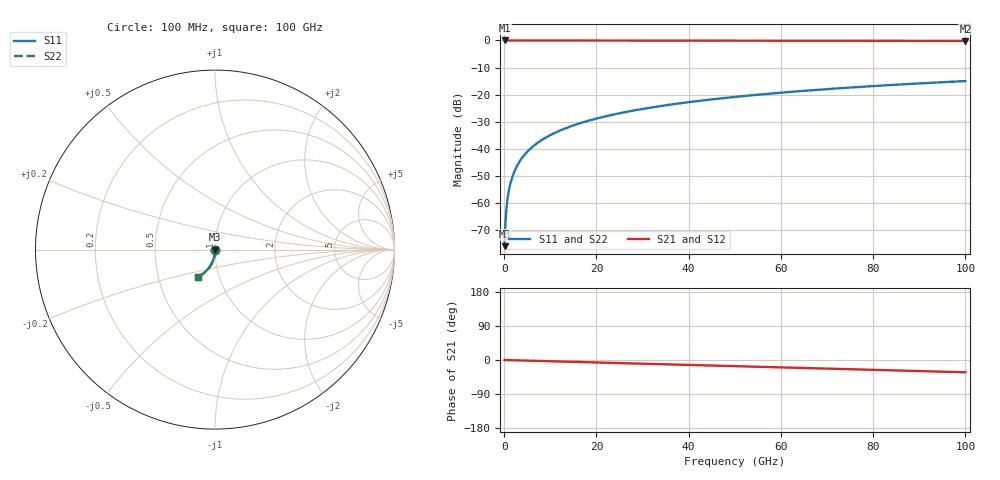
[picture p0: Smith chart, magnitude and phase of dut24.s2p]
! Touchstone file exported from HFSS 2026.1.0
!  File:  C:/ffzhzh/LocalFiles/Ansys_Project_Files/temp_train_TSV_24_1783504485_55944.aedt
!  Generated:  05:55:56 PM Jul  8, 2026
!  Design:  TSV
!  Project:  temp_train_TSV_24_1783504485_55944
! Variables:
!  h_bsmrdl = 2um
!  h_ox = 20um
!  h_rdl = 5um
!  h_sub = 61.95um
!  h_tmrdl = 5um
!  h_tsv = 61.95um
!  h_via = 3um
!  l_bsmrdl = 300um
!  l_sub = 427.52um
!  l_tmrdl = 200um
!  m_sub = 200um
!  pitch = 41.27um
!  r_tsv = 13.76um
!  s_tmrdl = 10um
!  w_bsmrdl = 18um
!  w_sub = 500um
!  w_tmrdl = 12um
!  x_tsv_center1 = 206um
!  x_tsv_center2 = 524um
!  x_tsv_center3 = 736um
!  x_tsv_center4 = 1054um
!  x_tsv_center5 = 1266um
!  x_tsv_center6 = 1584um
# GHz S MA R 50.000000
! Terminal data exported
! Port[1] = TSV1_1_T1
! Port[2] = TSV1_1_T2
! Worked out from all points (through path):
!   1000 points, 100 MHz to 100 GHz, reference 50 ohm
!   highest |S21| = 0.00 dB at 100 MHz (marker M1); lowest = -0.2 dB at 100 GHz (marker M2)
!   group delay of S21, straight-line fit = 901 fs
!   lowest |S11| = -75.8 dB at 100 MHz (marker M3), VSWR 1.00, Z = 50 - j0.0146 ohm
!   |S11| at or under -10 dB: start of sweep to end of sweep
!   |S22| runs from -75.8 to -15.0 dB; largest |S21 - S12| = 1.9e-15
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0.1  0.0001625 -64.1  0.9999 -0.0  0.9999 -0.0  0.0001625 -64.1
! Gamma 0 0 0 0
! Port Impedance 50 0 50 0
0.3  0.0004658 -77.4  0.9999 -0.1  0.9999 -0.1  0.0004658 -77.4
0.7  0.001149 -81.7  0.9998 -0.2  0.9998 -0.2  0.001149 -81.7
0.8  0.001325 -82.3  0.9998 -0.3  0.9998 -0.3  0.001325 -82.3
1  0.001679 -83.3  0.9998 -0.3  0.9998 -0.3  0.001679 -83.3
1.3  0.002212 -84.5  0.9998 -0.4  0.9998 -0.4  0.002212 -84.5
1.7  0.002924 -85.4  0.9997 -0.6  0.9997 -0.6  0.002924 -85.4
2.3  0.003998 -86.4  0.9997 -0.8  0.9997 -0.8  0.003998 -86.4
2.9  0.005078 -87.1  0.9996 -1.0  0.9996 -1.0  0.005078 -87.1
3.7  0.006527 -87.8  0.9996 -1.2  0.9996 -1.2  0.006527 -87.8
4.7  0.008346 -88.5  0.9995 -1.5  0.9995 -1.5  0.008346 -88.5
5.8  0.01035 -89.2  0.9995 -1.9  0.9995 -1.9  0.01035 -89.2
8.6  0.01547 -90.6  0.9993 -2.8  0.9993 -2.8  0.01547 -90.6
12.2  0.02207 -92.1  0.999 -4.0  0.999 -4.0  0.02207 -92.1
16.8  0.03053 -93.9  0.9987 -5.5  0.9987 -5.5  0.03053 -93.9
24.2  0.04412 -96.6  0.998 -7.9  0.998 -7.9  0.04412 -96.6
33.4  0.06097 -99.8  0.9969 -10.9  0.9969 -10.9  0.06097 -99.8
41.2  0.07519 -102.4  0.9958 -13.4  0.9958 -13.4  0.07519 -102.4
50.1  0.09132 -105.4  0.9943 -16.3  0.9943 -16.3  0.09132 -105.4
66.7  0.1211 -110.9  0.9909 -21.7  0.9909 -21.7  0.1211 -110.9
83.4  0.1503 -116.4  0.9866 -27.1  0.9866 -27.1  0.1503 -116.4
100  0.1785 -121.9  0.9815 -32.4  0.9815 -32.4  0.1785 -121.8
